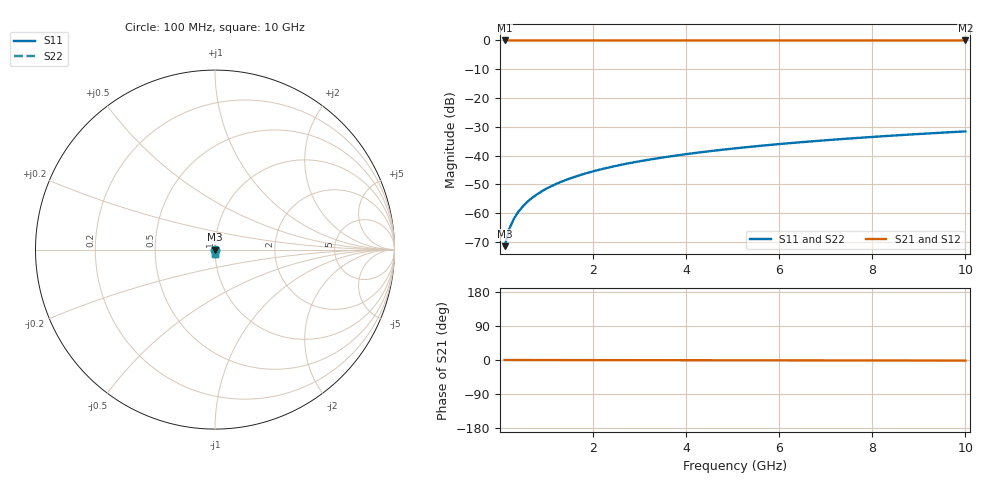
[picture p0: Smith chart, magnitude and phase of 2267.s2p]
# Hz S RI R 50.00
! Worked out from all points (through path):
!   100 points, 100 MHz to 10 GHz, reference 50 ohm
!   highest |S21| = 0.00 dB at 100 MHz (marker M1); lowest = 0.0 dB at 10 GHz (marker M2)
!   lowest |S11| = -71.5 dB at 100 MHz (marker M3), VSWR 1.00, Z = 50 - j0.0268 ohm
!   |S11| at or under -10 dB: start of sweep to end of sweep
!   |S22| runs from -71.5 to -31.6 dB; largest |S21 - S12| = 0
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1e8  -8.15e-07 -0.000268  1 -0.000268  1 -0.000268  -8.15e-07 -0.000268
2e8  -1.3e-06 -0.000535  1 -0.000536  1 -0.000536  -1.3e-06 -0.000535
3e8  -1.92e-06 -0.000802  1 -0.000803  1 -0.000803  -1.92e-06 -0.000802
4e8  -2.69e-06 -0.00107  1 -0.00107  1 -0.00107  -2.69e-06 -0.00107
5e8  -3.6e-06 -0.00134  1 -0.00134  1 -0.00134  -3.6e-06 -0.00134
6e8  -4.65e-06 -0.0016  1 -0.00161  1 -0.00161  -4.65e-06 -0.0016
7e8  -5.84e-06 -0.00187  1 -0.00187  1 -0.00187  -5.84e-06 -0.00187
8e8  -7.18e-06 -0.00214  1 -0.00214  1 -0.00214  -7.18e-06 -0.00214
9e8  -8.66e-06 -0.0024  1 -0.00241  1 -0.00241  -8.66e-06 -0.0024
1.1e9  -1.2e-05 -0.00294  1 -0.00294  1 -0.00294  -1.2e-05 -0.00294
1.4e9  -1.82e-05 -0.00373  1 -0.00374  1 -0.00374  -1.82e-05 -0.00373
1.8e9  -2.83e-05 -0.0048  1 -0.0048  1 -0.0048  -2.83e-05 -0.0048
2.1e9  -3.73e-05 -0.00559  1 -0.0056  1 -0.0056  -3.73e-05 -0.00559
2.5e9  -5.14e-05 -0.00665  0.9999 -0.00666  0.9999 -0.00666  -5.14e-05 -0.00665
2.9e9  -6.76e-05 -0.0077  0.9999 -0.00771  0.9999 -0.00771  -6.76e-05 -0.0077
3.4e9  -9.1e-05 -0.00902  0.9999 -0.00903  0.9999 -0.00903  -9.1e-05 -0.00902
4.2e9  -0.000136 -0.0111  0.9999 -0.0111  0.9999 -0.0111  -0.000136 -0.0111
5.1e9  -0.000196 -0.0135  0.9998 -0.0135  0.9998 -0.0135  -0.000196 -0.0135
5.9e9  -0.00026 -0.0156  0.9997 -0.0156  0.9997 -0.0156  -0.00026 -0.0156
6.7e9  -0.000332 -0.0177  0.9997 -0.0177  0.9997 -0.0177  -0.000332 -0.0177
8.4e9  -0.000514 -0.0221  0.9995 -0.0222  0.9995 -0.0222  -0.000514 -0.0221
1e10  -0.000722 -0.0263  0.9993 -0.0264  0.9993 -0.0264  -0.000722 -0.0263
